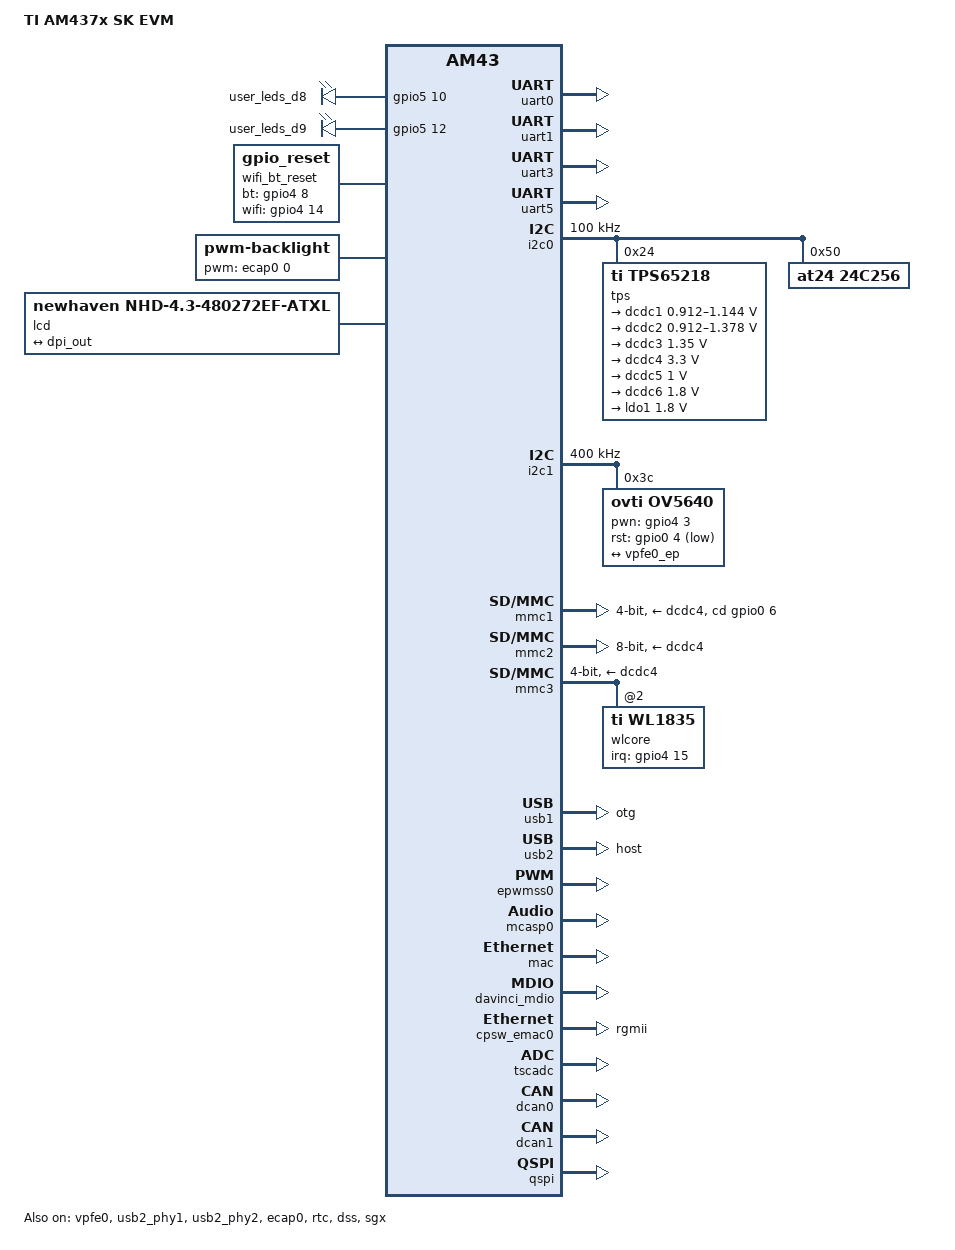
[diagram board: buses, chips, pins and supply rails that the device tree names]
/*
 * Copyright (C) 2015 Embest Technology Co., Ltd., - http://www.embest-tech.com
 *
 * This program is free software; you can redistribute it and/or modify
 * it under the terms of the GNU General Public License version 2 as
 * published by the Free Software Foundation.
 *
 * This dts is for embest own product:
 * SBC-EC8800
 */
/dts-v1/;

#include "am4372.dtsi"
#include <dt-bindings/pinctrl/am43xx.h>
#include <dt-bindings/pwm/pwm.h>
#include <dt-bindings/gpio/gpio.h>
#include <dt-bindings/input/input.h>

/ {
	model = "TI AM437x SK EVM";
	compatible = "ti,am437x-sk-evm","ti,am4372","ti,am43";

	aliases {
		display0 = &lcd0;
		serial1 = &uart1;
		serial3 = &uart3;
		serial5 = &uart5;
	};

	leds {
		pinctrl-names = "default";
		pinctrl-0 = <&user_leds>;
        
		compatible = "gpio-leds";

		led1 {
			label = "user_leds_d8";
			gpios = <&gpio5 10 GPIO_ACTIVE_HIGH>;
			linux,default-trigger = "none";
			default-state = "on";
		};

		led2 {
			label = "user_leds_d9";
			gpios = <&gpio5 12 GPIO_ACTIVE_HIGH>;
			linux,default-trigger = "none";
			default-state = "on";
		};
	};

	wifi_bt_reset{
		pinctrl-names = "default";
		pinctrl-0 = <&wifi_reset_pins>;

		compatible = "gpio_reset";
		bt-gpios = <&gpio4 8 GPIO_ACTIVE_HIGH>;
		wifi-gpios = <&gpio4 14 GPIO_ACTIVE_HIGH>;
	};

	wilink8_pcm: wilink8_pcm {
		compatible = "ti,wilink8_bt";
		status = "okay";
	};

	sound_bt: sound@1 {
		compatible = "ti,wilink8-bt-audio";
		ti,model = "WILINK8_BT";
		ti,audio-codec = <&wilink8_pcm>;
		ti,mcasp-controller = <&mcasp0>;
		ti,codec-clock-rate = <24000000>;
	};

	tibt {
		compatible = "tibt";
		nshutdown_gpio = <104>; 
		dev_name = "/dev/ttyS5";
		flow_cntrl = <1>;
		baud_rate = <3000000>;
	};

	backlight: backlight {
		compatible = "pwm-backlight";

		pwms = <&ecap0 0 50000 PWM_POLARITY_INVERTED>;
		brightness-levels = <0 51 53 56 62 75 101 152 255>;
		default-brightness-level = <6>;
	};
	
	btwilink {
		compatible = "btwilink";
	};

	lcd0: display {
		compatible = "newhaven,nhd-4.3-480272ef-atxl", "panel-dpi";
		label = "lcd";

		/* If there is a enable pin in LCD sch. you need to add this!
		*pinctrl-names = "default";
		*pinctrl-0 = <&lcd_pins>;
		*
		*enable-gpios = <&gpio1 7 GPIO_ACTIVE_HIGH>; */

		panel-timing {
			/*This is the timing for 4.3inch_LCD*/
			/*clock-frequency = <9000000>;
			hactive = <480>;
			vactive = <272>;
			hfront-porch = <2>;
			hback-porch = <2>;
			hsync-len = <41>;
			vfront-porch = <2>;
			vback-porch = <2>;
			vsync-len = <10>;
			hsync-active = <0>;
			vsync-active = <0>;
			de-active = <1>;
			pixelclk-active = <1>;*/

			/*This is the timing for 7inch_LCD*/
			clock-frequency = <36000000>;
			hactive = <800>;
			vactive = <480>;
			hfront-porch = <1>;
			hback-porch = <1>;
			hsync-len = <48>;
			vfront-porch = <12>;
			vback-porch = <25>;
			vsync-len = <5>;
			hsync-active = <0>;
			vsync-active = <0>;
			de-active = <1>;
			pixelclk-active = <1>;
		};

		port {
			lcd_in: endpoint {
				remote-endpoint = <&dpi_out>;
			};
		};
	};
};

&cpu {
	cpu0-supply = <&dcdc2>;
};

&uart0 {
	status = "okay";
	pinctrl-names = "default";
	pinctrl-0 = <&uart0_pins>;
};

&uart1 {
	pinctrl-names = "default";
	pinctrl-0 = <&uart1_pins>;
	status = "okay";
};
&uart3 {
	pinctrl-names = "default";
	pinctrl-0 = <&uart3_pins>;
	rs485-rts-active-high;
	linux,rs485-enabled-at-boot-time;
	rs485-rts-delay = <200 0>;		// in milliseconds	
	status = "okay";
	rts-gpio = <&gpio5 1 GPIO_ACTIVE_HIGH>;
	cts-gpio = <&gpio5 0 GPIO_ACTIVE_HIGH>;
};
&uart5 {
	pinctrl-names = "default";
	pinctrl-0 = <&uart5_pins>;
	status = "okay";
};

&i2c0 {
	status = "okay";
	pinctrl-names = "default";
	pinctrl-0 = <&i2c0_pins>;
	clock-frequency = <100000>;

	tps@24 {
		compatible = "ti,tps65218";
		reg = <0x24>;
		interrupts = <GIC_SPI 7 IRQ_TYPE_LEVEL_HIGH>;
		interrupt-controller;
		#interrupt-cells = <2>;

		dcdc1: regulator-dcdc1 {
			compatible = "ti,tps65218-dcdc1";
			/* VDD_CORE limits min of OPP50 and max of OPP100 */
			regulator-name = "vdd_core";
			regulator-min-microvolt = <912000>;
			regulator-max-microvolt = <1144000>;
			regulator-boot-on;
			regulator-always-on;
		};

		dcdc2: regulator-dcdc2 {
			compatible = "ti,tps65218-dcdc2";
			/* VDD_MPU limits min of OPP50 and max of OPP_NITRO */
			regulator-name = "vdd_mpu";
			regulator-min-microvolt = <912000>;
			regulator-max-microvolt = <1378000>;
			regulator-boot-on;
			regulator-always-on;
		};

		dcdc3: regulator-dcdc3 {
			compatible = "ti,tps65218-dcdc3";
			regulator-name = "vdds_ddr";
			regulator-min-microvolt = <1350000>;
			regulator-max-microvolt = <1350000>;
			regulator-boot-on;
			regulator-always-on;
			regulator-state-mem {
				regulator-on-in-suspend;
			};
			regulator-state-disk {
				regulator-off-in-suspend;
			};
		};

		dcdc4: regulator-dcdc4 {
			compatible = "ti,tps65218-dcdc4";
			regulator-name = "v3_3d";
			regulator-min-microvolt = <3300000>;
			regulator-max-microvolt = <3300000>;
			regulator-boot-on;
			regulator-always-on;
		};

		dcdc5: regulator-dcdc5 {
			compatible = "ti,tps65218-dcdc5";
			regulator-name = "v1_0bat";
			regulator-min-microvolt = <1000000>;
			regulator-max-microvolt = <1000000>;
			regulator-boot-on;
			regulator-always-on;
			regulator-state-mem {
				regulator-on-in-suspend;
			};
		};

		dcdc6: regulator-dcdc6 {
			compatible = "ti,tps65218-dcdc6";
			regulator-name = "v1_8bat";
			regulator-min-microvolt = <1800000>;
			regulator-max-microvolt = <1800000>;
			regulator-boot-on;
			regulator-always-on;
			regulator-state-mem {
				regulator-on-in-suspend;
			};
		};

		ldo1: regulator-ldo1 {
			compatible = "ti,tps65218-ldo1";
			regulator-name = "v1_8d";
			regulator-min-microvolt = <1800000>;
			regulator-max-microvolt = <1800000>;
			regulator-boot-on;
			regulator-always-on;
		};

		power-button {
			compatible = "ti,tps65218-pwrbutton";
			status = "okay";
			interrupts = <3 IRQ_TYPE_EDGE_BOTH>;
		};
	};

	at24@50 {
		compatible = "at24,24c256";
		pagesize = <64>;
		reg = <0x50>;
	};
};


&i2c1 {
	status = "okay";
	pinctrl-names = "default";
	pinctrl-0 = <&i2c1_pins>;
	clock-frequency = <400000>;
	
	ov5640@3c {
		compatible = "ovti,ov5640";
		reg = <0x3c>;
		pinctrl-names = "default";
		pinctrl-0 = <&clkout2_pin>;	
		
		clocks = <&clkout2_ck>;
		clock-names = "mclk";
		assigned-clocks = <&clkout2_mux_ck>, <&clkout2_post_div_ck>;
		assigned-clock-parents = <&sysclk_div>;
		assigned-clock-rates = <0>, <12500000>;		
		
		pwn = <&gpio4 3 GPIO_ACTIVE_HIGH>;
		rst = <&gpio0 4 GPIO_ACTIVE_LOW>;
		
		port {
			ov5640_1: endpoint {
				remote-endpoint = <&vpfe0_ep>;
				link-frequencies = /bits/ 64 <70000000>;
			};
		};
	};
};

&vpfe0 {
	status = "okay";
	pinctrl-names = "default", "sleep";
	pinctrl-0 = <&vpfe0_pins_default>;
	pinctrl-1 = <&vpfe0_pins_sleep>;

	/* Camera port */
	port {
		vpfe0_ep: endpoint {
			remote-endpoint = <&ov5640_1>;
			ti,am437x-vpfe-interface = <0>;
			bus-width = <8>;
			hsync-active = <0>;
			vsync-active = <0>;
		};
	};
};

&mmc1 {
	status = "okay";
	pinctrl-names = "default", "sleep";
	pinctrl-0 = <&mmc1_pins>;
	pinctrl-1 = <&mmc1_pins_sleep>;

	vmmc-supply = <&dcdc4>;
	bus-width = <4>;
	cd-gpios = <&gpio0 6 GPIO_ACTIVE_HIGH>;
};

/* eMMC sits on mmc2 */
&mmc2 {
	/*
	 * When enabling eMMC, disable GPMC/NAND and set
	 * SelEMMCorNAND to output-high
	 */
	status = "okay";
	vmmc-supply = <&dcdc4>;
	bus-width = <8>;
	pinctrl-names = "default", "sleep";
	pinctrl-0 = <&emmc_pins_default>;
	pinctrl-1 = <&emmc_pins_sleep>;
	ti,non-removable;
};

&mmc3 {
	status = "okay";
	dmas = <&edma 30
	&edma 31>;
	dma-names = "tx", "rx";
	vmmc-supply = <&dcdc4>;
	bus-width = <4>;
	pinctrl-names = "default", "sleep";
	pinctrl-0 = <&mmc3_pins_default>;
	pinctrl-1 = <&mmc3_pins_sleep>;
	cap-power-off-card;
	keep-power-in-suspend;
	ti,non-removable;
	#address-cells = <1>;
	#size-cells = <0>;

	wlcore: wlcore@0 {
		compatible = "ti,wl1835";
		pinctrl-names = "default", "sleep";
		pinctrl-0 = <&wlan_pins_default>;
		pinctrl-1 = <&wlan_pins_sleep>;
		reg = <2>;
		interrupt-parent = <&gpio4>;
		interrupts = <15 IRQ_TYPE_LEVEL_HIGH>;
	};
};

&edma {
	ti,edma-xbar-event-map = /bits/ 16 <1 30
				2 31>;
};

&usb2_phy1 {
	status = "okay";
};

&usb1 {
	dr_mode = "otg";
	status = "okay";
	pinctrl-names = "default";
	pinctrl-0 = <&usb1_pins>;
};

&usb2_phy2 {
	status = "okay";
};

&usb2 {
	dr_mode = "host";
	status = "okay";
	pinctrl-names = "default";
	pinctrl-0 = <&usb2_pins>;
};

&gpio0 {
	status = "okay";
};

&gpio4 {
	status = "okay";
};

/* This is needed for LED according to LED pins */
&gpio5 {
	status = "okay";
};

/* This is needed for backlight */
&epwmss0 {
	status = "okay";
};

/* This is needed for backlight */
&ecap0 {
	status = "okay";
	pinctrl-names = "default";
	pinctrl-0 = <&ecap0_pins>;
};

&rtc {
	status = "okay";
	ext-clk-src;
};

/* This is needed for LCD*/
&dss {
	status = "okay";

	pinctrl-names = "default";
	pinctrl-0 = <&dss_pins>;

	port {
		dpi_out: endpoint@0 {
			remote-endpoint = <&lcd_in>;
			data-lines = <24>;
		};
	};
};

/* This is needed for LCD*/
&sgx {
	status = "okay";
};

&mcasp0 {
	#sound-dai-cells = <0>;
	pinctrl-names = "default";
	pinctrl-0 = <&mcasp0_pins>;
	status = "okay";
	op-mode = <0>;
	tdm-slots = <2>;
    
	serial-dir = <
		1 2  0 0
	>;

	tx-num-evt = <1>;
	rx-num-evt = <1>;
};

&mac {
	pinctrl-names = "default", "sleep";
	pinctrl-0 = <&cpsw_default>;
	/*dual_emac = <1>;*/
	status = "okay";
};

&davinci_mdio {
	pinctrl-names = "default", "sleep";
	pinctrl-0 = <&davinci_mdio_default>;
	status = "okay";
};

&cpsw_emac0 {
	phy_id = <&davinci_mdio>, <7>;
	phy-mode = "rgmii";
	dual_emac_res_vlan = <1>;
};

&tscadc {
	status = "okay";

	tsc {
		ti,wires = <4>;
		ti,x-plate-resistance = <200>;
		ti,coordinate-readouts = <5>;
		ti,wire-config = <0x00 0x11 0x22 0x33>;
		ti,charge-delay = <0xf200>;
	};

	adc { 
		ti,adc-channels = <4 5 6 7>;
		ti,chan-step-opendelay = <0x098 0x098 0x098 0x0>;
		ti,chan-step-sampledelay = <0xff 0x0 0xf 0x0>;
		ti,chan-step-avg = <16 2 4 8>; 
	};
};

&dcan0 {
	pinctrl-names = "default";
	pinctrl-0 = <&can0_pins>;
	status = "okay";
};

&dcan1 {
	pinctrl-names = "default";
	pinctrl-0 = <&can1_pins>;
	status = "okay";
};

&qspi {
	pinctrl-names = "default";
	pinctrl-0 = <&qspi_pins>;
	spi-max-frequency = <108000000>;
	status = "okay";

	/*m25p80@0 {
		compatible = "n25q256a";
		spi-max-frequency = <108000000>;
		reg = <0>;
		spi-cpol;
		spi-cpha;
		spi-tx-bus-width = <1>;
		spi-rx-bus-width = <4>;
		#address-cells = <1>;
		#size-cells = <1>;
	};*/
};

&am43xx_pinmux {
	/* UART0 pins: rxd & txd */
	uart0_pins: pinmux_uart0_pins {
		pinctrl-single,pins = <
			0x170 (PIN_INPUT_PULLUP | MUX_MODE0)	/* uart0_rxd.uart0_rxd */
			0x174 (PIN_OUTPUT_PULLDOWN | MUX_MODE0)	/* uart0_txd.uart0_txd */
		>;
	};
	/* UART1 pins: rxd & txd */
	uart1_pins: pinmux_uart1_pins {
		pinctrl-single,pins = <
			0x180 (PIN_INPUT_PULLUP | MUX_MODE0)	/* uart1_rxd.uart1_rxd */
			0x184 (PIN_OUTPUT_PULLDOWN | MUX_MODE0)	/* uart1_txd.uart1_txd */
		>;
	};

	/* UART3 pins: rxd & txd */
	uart3_pins: pinmux_uart3_pins {
		pinctrl-single,pins = <
			0x228 (PIN_INPUT_PULLUP | MUX_MODE0)	/* uart3_rxd.uart3_rxd */
			0x22c (PIN_OUTPUT_PULLDOWN | MUX_MODE0)	/* uart3_txd.uart3_txd */
			0x234 (PIN_OUTPUT_PULLDOWN | MUX_MODE7)	/* uart3_rts.gpio5_1   */
		>;
	};

	/* UART5 pins: rxd & txd */
	uart5_pins: pinmux_uart5_pins {
		pinctrl-single,pins = <
			0x108 (PIN_INPUT_PULLUP | MUX_MODE3)	/* mii1_col.uart5_rxd */
			0x144 (PIN_OUTPUT_PULLDOWN | MUX_MODE3)	/* rmii1_refclk.uart5_txd */
			0x10c (PIN_OUTPUT_PULLDOWN | MUX_MODE7)	/* ctsn */
			0x110 (PIN_OUTPUT_PULLDOWN | MUX_MODE7) /* rtsn */
		>;
	};

	/* I2C0 pins: sda & scl */
	i2c0_pins: i2c0_pins {
		pinctrl-single,pins = <
			0x188 (PIN_INPUT | SLEWCTRL_FAST | MUX_MODE0)  /* i2c0_sda.i2c0_sda */
			0x18c (PIN_INPUT | SLEWCTRL_FAST | MUX_MODE0)  /* i2c0_scl.i2c0_scl */
		>;
	};

    /* CAN0 pins: rxd & txd */
	can0_pins: pinmux_can0_pins {
		pinctrl-single,pins = <
			0x17C (PIN_INPUT_PULLUP | MUX_MODE2)	/* uart1_rtsn.can0_rxd */
			0x178 (PIN_OUTPUT_PULLDOWN | MUX_MODE2)	/* uart1_ctsn.can0_txd */
			0x78 (PIN_OUTPUT_PULLDOWN | MUX_MODE7)	/* CAN0/1_STB.gpio1_28 */
		>;
	};

    /* CAN1 pins: rxd & txd */
	can1_pins: pinmux_can1_pins {
		pinctrl-single,pins = <
			0x16C (PIN_INPUT_PULLUP | MUX_MODE2)	/* uart0_rtsn.can1_rxd */
			0x168 (PIN_OUTPUT_PULLDOWN | MUX_MODE2)	/* uart0_ctsn.can1_txd */
		>;
	};

	mcasp0_pins: mcasp0_pins {
		pinctrl-single,pins = <
			0x190 (PIN_INPUT_PULLDOWN | MUX_MODE0)	/* MCASP0_ACLKX.MCASP0_ACLKX */
			0x194 (PIN_INPUT_PULLDOWN | MUX_MODE0)	/* MCASP0_FSX.MCASP0_FSX */
			0x198 (PIN_OUTPUT_PULLDOWN | MUX_MODE0)	/* MCASP0_AXR0.MCASP0_AXR0 */
			0x1a8 (PIN_INPUT_PULLDOWN | MUX_MODE0)	/* MCASP0_AXR1.MCASP0_AXR1 */
			0x1ac (PIN_OUTPUT_PULLDOWN | MUX_MODE0)	/* MCASP0_AHCLKX.MCASP0_AHCLKX */
		>;
	};

	/* MMC1 pins:  data0 - data3; clk; cmd; detect pin */
	mmc1_pins: pinmux_mmc1_pins {
		pinctrl-single,pins = <
			0x0f0 (PIN_INPUT | MUX_MODE0) /* mmc0_dat3.mmc0_dat3 */
			0x0f4 (PIN_INPUT | MUX_MODE0) /* mmc0_dat2.mmc0_dat2 */
			0x0f8 (PIN_INPUT | MUX_MODE0) /* mmc0_dat1.mmc0_dat1 */
			0x0fc (PIN_INPUT | MUX_MODE0) /* mmc0_dat0.mmc0_dat0 */
			0x100 (PIN_INPUT | MUX_MODE0) /* mmc0_clk.mmc0_clk */
			0x104 (PIN_INPUT | MUX_MODE0) /* mmc0_cmd.mmc0_cmd */
			0x160 (PIN_INPUT | MUX_MODE7) /* spi0_cs1.gpio0_6 */
		>;
	};

	/* MMC1 pins:  data0 - data3; clk; cmd; detect pin */
	mmc1_pins_sleep: pinmux_mmc1_pins_sleep {
		pinctrl-single,pins = <
			0x0F0 (PIN_INPUT_PULLDOWN | MUX_MODE7)
			0x0F4 (PIN_INPUT_PULLDOWN | MUX_MODE7)
			0x0F8 (PIN_INPUT_PULLDOWN | MUX_MODE7)
			0x0FC (PIN_INPUT_PULLDOWN | MUX_MODE7)
			0x100 (PIN_INPUT_PULLDOWN | MUX_MODE7)
			0x104 (PIN_INPUT_PULLDOWN | MUX_MODE7)
			0x1A0 (PIN_INPUT_PULLDOWN | MUX_MODE7)
			0x160 (PIN_INPUT_PULLDOWN | MUX_MODE7)
		>;
	};

	/* eMMC pins:  data0 - data7; clk; cmd;  */
	emmc_pins_default: emmc_pins_default {
		pinctrl-single,pins = <
			0x00 (PIN_INPUT_PULLUP | MUX_MODE1) /* gpmc_ad0.mmc1_dat0 */
			0x04 (PIN_INPUT_PULLUP | MUX_MODE1) /* gpmc_ad1.mmc1_dat1 */
			0x08 (PIN_INPUT_PULLUP | MUX_MODE1) /* gpmc_ad2.mmc1_dat2 */
			0x0c (PIN_INPUT_PULLUP | MUX_MODE1) /* gpmc_ad3.mmc1_dat3 */
			0x10 (PIN_INPUT_PULLUP | MUX_MODE1) /* gpmc_ad4.mmc1_dat4 */
			0x14 (PIN_INPUT_PULLUP | MUX_MODE1) /* gpmc_ad5.mmc1_dat5 */
			0x18 (PIN_INPUT_PULLUP | MUX_MODE1) /* gpmc_ad6.mmc1_dat6 */
			0x1c (PIN_INPUT_PULLUP | MUX_MODE1) /* gpmc_ad7.mmc1_dat7 */
			0x80 (PIN_INPUT_PULLUP | MUX_MODE2) /* gpmc_csn1.mmc1_clk */
			0x84 (PIN_INPUT_PULLUP | MUX_MODE2) /* gpmc_csn2.mmc1_cmd */
		>;
	};

	emmc_pins_sleep: emmc_pins_sleep {
		pinctrl-single,pins = <
			0x00 (PIN_INPUT_PULLDOWN | MUX_MODE7) /* gpmc_ad0.gpio1_0 */
			0x04 (PIN_INPUT_PULLDOWN | MUX_MODE7) /* gpmc_ad1.gpio1_1 */
			0x08 (PIN_INPUT_PULLDOWN | MUX_MODE7) /* gpmc_ad2.gpio1_2 */
			0x0c (PIN_INPUT_PULLDOWN | MUX_MODE7) /* gpmc_ad3.gpio1_3 */
			0x10 (PIN_INPUT_PULLDOWN | MUX_MODE7) /* gpmc_ad4.gpio1_4 */
			0x14 (PIN_INPUT_PULLDOWN | MUX_MODE7) /* gpmc_ad5.gpio1_5 */
			0x18 (PIN_INPUT_PULLDOWN | MUX_MODE7) /* gpmc_ad6.gpio1_6 */
			0x1c (PIN_INPUT_PULLDOWN | MUX_MODE7) /* gpmc_ad7.gpio1_7 */
			0x80 (PIN_INPUT_PULLDOWN | MUX_MODE7) /* gpmc_csn1.gpio1_30 */
			0x84 (PIN_INPUT_PULLDOWN | MUX_MODE7) /* gpmc_csn2.gpio1_31 */
		>;
	};

	mmc3_pins_default: pinmux_mmc3_pins_default {  
		pinctrl-single,pins = <
			0x1f0 (PIN_INPUT_PULLUP | MUX_MODE3) /* (AD21) cam1_data2.mmc2_clk */
			0x1f4 (PIN_INPUT_PULLUP | MUX_MODE3) /* (AE22) cam1_data3.mmc2_cmd */
			0x1f8 (PIN_INPUT_PULLUP | MUX_MODE3) /* (AD22) cam1_data4.mmc2_dat0 */
			0x1fc (PIN_INPUT_PULLUP | MUX_MODE3) /* (AE23) cam1_data5.mmc2_dat1 */
			0x200 (PIN_INPUT_PULLUP | MUX_MODE3) /* (AD23) cam1_data6.mmc2_dat2 */
			0x204 (PIN_INPUT_PULLUP | MUX_MODE3) /* (AE24) cam1_data7.mmc2_dat3 */
		>;
	};

	mmc3_pins_sleep: pinmux_mmc3_pins_sleep {
		pinctrl-single,pins = <
			0x1f0 (PIN_INPUT_PULLDOWN | MUX_MODE7) /* (AD21) cam1_data2.mmc2_clk */
			0x1f4 (PIN_INPUT_PULLDOWN | MUX_MODE7) /* (AE22) cam1_data3.mmc2_cmd */
			0x1f8 (PIN_INPUT_PULLDOWN | MUX_MODE7) /* (AD22) cam1_data4.mmc2_dat0 */
			0x1fc (PIN_INPUT_PULLDOWN | MUX_MODE7) /* (AE23) cam1_data5.mmc2_dat1 */
			0x200 (PIN_INPUT_PULLDOWN | MUX_MODE7) /* (AD23) cam1_data6.mmc2_dat2 */
			0x204 (PIN_INPUT_PULLDOWN | MUX_MODE7) /* (AE24) cam1_data7.mmc2_dat3 */
		>;
	};

	wlan_pins_default: pinmux_wlan_pins_default {
		pinctrl-single,pins = <
			0x1ec (PIN_INPUT | WAKEUP_ENABLE | MUX_MODE7)	/*  WL_IRQ */
		>;
	};

	wlan_pins_sleep: pinmux_wlan_pins_sleep {
		pinctrl-single,pins = <
			0x1ec (PIN_INPUT | WAKEUP_ENABLE | MUX_MODE7)	/* WL_IRQ */
		>;
	};

	wifi_reset_pins: wifi_reset_pins{
		pinctrl-single,pins = <
			0x1e8 (PIN_OUTPUT | MUX_MODE7)	/*  WL_EN */
			0x1d0 (PIN_OUTPUT | MUX_MODE7)	/*  BT_EN */
		>;
	};

	user_leds: user_leds {
		pinctrl-single,pins = <
			0x240 (PIN_OUTPUT | MUX_MODE7)	/* gpmc_csn3.gpio5_10 */
			0x248 (PIN_OUTPUT | MUX_MODE7)	/* gpmc_ben1.gpio5_12 */
		>;
	};

	ecap0_pins: backlight_pins {
		pinctrl-single,pins = <
			0x164 (PIN_OUTPUT_PULLDOWN | MUX_MODE0) /* eCAP0_in_PWM0_out.eCAP0_in_PWM0_out */
		>;
	};

	dss_pins: dss_pins {
		pinctrl-single,pins = <
			0x020 (PIN_OUTPUT | MUX_MODE1)	/* gpmc ad 8 -> DSS DATA 23 */
			0x024 (PIN_OUTPUT | MUX_MODE1)
			0x028 (PIN_OUTPUT | MUX_MODE1)
			0x02c (PIN_OUTPUT | MUX_MODE1)
			0x030 (PIN_OUTPUT | MUX_MODE1)
			0x034 (PIN_OUTPUT | MUX_MODE1)
			0x038 (PIN_OUTPUT | MUX_MODE1)
			0x03c (PIN_OUTPUT | MUX_MODE1)	/* gpmc ad 15 -> DSS DATA 16 */
			0x0a0 (PIN_OUTPUT | MUX_MODE0)	/* DSS DATA 0 */
			0x0a4 (PIN_OUTPUT | MUX_MODE0)
			0x0a8 (PIN_OUTPUT | MUX_MODE0)
			0x0ac (PIN_OUTPUT | MUX_MODE0)
			0x0b0 (PIN_OUTPUT | MUX_MODE0)
			0x0b4 (PIN_OUTPUT | MUX_MODE0)
			0x0b8 (PIN_OUTPUT | MUX_MODE0)
			0x0bc (PIN_OUTPUT | MUX_MODE0)
			0x0c0 (PIN_OUTPUT | MUX_MODE0)
			0x0c4 (PIN_OUTPUT | MUX_MODE0)
			0x0c8 (PIN_OUTPUT | MUX_MODE0)
			0x0cc (PIN_OUTPUT | MUX_MODE0)
			0x0d0 (PIN_OUTPUT | MUX_MODE0)
			0x0d4 (PIN_OUTPUT | MUX_MODE0)
			0x0d8 (PIN_OUTPUT | MUX_MODE0)
			0x0dc (PIN_OUTPUT | MUX_MODE0)	/* DSS DATA 15 */
			0x0e0 (PIN_OUTPUT | MUX_MODE0)	/* DSS VSYNC */
			0x0e4 (PIN_OUTPUT | MUX_MODE0)	/* DSS HSYNC */
			0x0e8 (PIN_OUTPUT | MUX_MODE0)	/* DSS PCLK */
			0x0ec (PIN_OUTPUT | MUX_MODE0)	/* DSS AC BIAS EN */

		>;
	};

	usb1_pins: usb1_pins {
		pinctrl-single,pins = <
			0x2c0 (PIN_OUTPUT | MUX_MODE0) /* usb0_drvvbus.usb0_drvvbus */
		>;
	};

	usb2_pins: usb2_pins {
		pinctrl-single,pins = <
			0x2c4 (PIN_OUTPUT | MUX_MODE0) /* usb1_drvvbus.usb1_drvvbus */
		>;
	};

	cpsw_default: cpsw_default {
		pinctrl-single,pins = <
			/* Slave 1 */
			0x12c (PIN_OUTPUT | MUX_MODE2)	/* mii1_txclk.rmii1_tclk */
			0x114 (PIN_OUTPUT | MUX_MODE2)	/* mii1_txen.rgmii1_tctl */
			0x128 (PIN_OUTPUT | MUX_MODE2)	/* mii1_txd0.rgmii1_td0 */
			0x124 (PIN_OUTPUT | MUX_MODE2)	/* mii1_txd1.rgmii1_td1 */
			0x120 (PIN_OUTPUT | MUX_MODE2)	/* mii1_txd0.rgmii1_td2 */
			0x11c (PIN_OUTPUT | MUX_MODE2)	/* mii1_txd1.rgmii1_td3 */
			0x130 (PIN_INPUT | MUX_MODE2)	/* mii1_rxclk.rmii1_rclk */
			0x118 (PIN_INPUT | MUX_MODE2)	/* mii1_rxdv.rgmii1_rctl */
			0x140 (PIN_INPUT | MUX_MODE2)	/* mii1_rxd0.rgmii1_rd0 */
			0x13c (PIN_INPUT | MUX_MODE2)	/* mii1_rxd1.rgmii1_rd1 */
			0x138 (PIN_INPUT | MUX_MODE2)	/* mii1_rxd0.rgmii1_rd2 */
			0x134 (PIN_INPUT | MUX_MODE2)	/* mii1_rxd1.rgmii1_rd3 */

			/* Slave 2 */
			0x58 (PIN_OUTPUT | MUX_MODE2)	/* gpmc_a6.rgmii2_tclk */
			0x40 (PIN_OUTPUT | MUX_MODE2)	/* gpmc_a0.rgmii2_tctl */
			0x54 (PIN_OUTPUT | MUX_MODE2)	/* gpmc_a5.rgmii2_td0 */
			0x50 (PIN_OUTPUT | MUX_MODE2)	/* gpmc_a4.rgmii2_td1 */
			0x4c (PIN_OUTPUT | MUX_MODE2)	/* gpmc_a3.rgmii2_td2 */
			0x48 (PIN_OUTPUT | MUX_MODE2)	/* gpmc_a2.rgmii2_td3 */
			0x5c (PIN_INPUT | MUX_MODE2)	/* gpmc_a7.rgmii2_rclk */
			0x44 (PIN_INPUT | MUX_MODE2)	/* gpmc_a1.rgmii2_rtcl */
			0x6c (PIN_INPUT | MUX_MODE2)	/* gpmc_a11.rgmii2_rd0 */
			0x68 (PIN_INPUT | MUX_MODE2)	/* gpmc_a10.rgmii2_rd1 */
			0x64 (PIN_INPUT | MUX_MODE2)	/* gpmc_a9.rgmii2_rd2 */
			0x60 (PIN_INPUT | MUX_MODE2)	/* gpmc_a8.rgmii2_rd3 */
		>;
	};

	davinci_mdio_default: davinci_mdio_default {
		pinctrl-single,pins = <
			/* MDIO */
			0x148 (PIN_INPUT | SLEWCTRL_FAST | MUX_MODE0)	/* mdio_data.mdio_data */
			0x14c (PIN_OUTPUT | MUX_MODE0)			/* mdio_clk.mdio_clk */
		>;
	};

	qspi_pins: pinmux_qspi_pins {
		pinctrl-single,pins = <
			0x7c (PIN_OUTPUT | MUX_MODE3)   /* gpmc_csn0.qspi_csn */
			0x88 (PIN_OUTPUT | MUX_MODE2)   /* gpmc_csn3.qspi_clk */
			0x90 (PIN_INPUT | MUX_MODE3)    /* gpmc_advn_ale.qspi_d0 */
			0x94 (PIN_INPUT | MUX_MODE3)    /* gpmc_oen_ren.qspi_d1 */
			0x98 (PIN_INPUT | MUX_MODE3)    /* gpmc_wen.qspi_d2 */
			0x9c (PIN_INPUT | MUX_MODE3)    /* gpmc_be0n_cle.qspi_d3 */
		>;
	};

	clkout2_pin: pinmux_clkout2_pin {
		pinctrl-single,pins = <
			0x274 (PIN_OUTPUT_PULLDOWN | MUX_MODE3)	/* XDMA_EVENT_INTR1/CLKOUT2 */
			0x1bc (PIN_OUTPUT_PULLDOWN | MUX_MODE7)	/* pwn.gpio4_3 */
			0x08c (PIN_OUTPUT_PULLDOWN | MUX_MODE9)	/* rst gpio0_4 */
		>;	
	};

	/* I2C1 pins: sda & scl */
	i2c1_pins: i2c1_pins {
		pinctrl-single,pins = <
			0x15c (PIN_INPUT_PULLDOWN | SLEWCTRL_FAST | MUX_MODE2)  /* spi0_cs0.i2c1_scl */
			0x158 (PIN_INPUT_PULLDOWN | SLEWCTRL_FAST | MUX_MODE2)  /* spi0_d1.i2c1_sda  */
		>;
	};

	/* I2C2 pins: sda & scl */
	i2c2_pins: i2c2_pins {
		pinctrl-single,pins = <
			0x154 (PIN_INPUT | SLEWCTRL_FAST | MUX_MODE2)  /* i2c0_sda.i2c0_sda */
			0x150 (PIN_INPUT | SLEWCTRL_FAST | MUX_MODE2)  /* i2c0_scl.i2c0_scl */
		>;
	};

	vpfe0_pins_default: vpfe0_pins_default {
		pinctrl-single,pins = <
			0x1B0 (PIN_INPUT_PULLUP | MUX_MODE0)  /* cam0_hd mode 0*/
			0x1B4 (PIN_INPUT_PULLUP | MUX_MODE0)  /* cam0_vd mode 0*/
			0x1C0 (PIN_INPUT_PULLUP | MUX_MODE0)  /* cam0_pclk mode 0*/
			0x1C4 (PIN_INPUT_PULLUP | MUX_MODE0)  /* cam0_data8 mode 0*/
			0x1C8 (PIN_INPUT_PULLUP | MUX_MODE0)  /* cam0_data9 mode 0*/
			0x208 (PIN_INPUT_PULLUP | MUX_MODE0)  /* cam0_data0 mode 0*/
			0x20C (PIN_INPUT_PULLUP | MUX_MODE0)  /* cam0_data1 mode 0*/
			0x210 (PIN_INPUT_PULLUP | MUX_MODE0)  /* cam0_data2 mode 0*/
			0x214 (PIN_INPUT_PULLUP | MUX_MODE0)  /* cam0_data3 mode 0*/
			0x218 (PIN_INPUT_PULLUP | MUX_MODE0)  /* cam0_data4 mode 0*/
			0x21C (PIN_INPUT_PULLUP | MUX_MODE0)  /* cam0_data5 mode 0*/
			0x220 (PIN_INPUT_PULLUP | MUX_MODE0)  /* cam0_data6 mode 0*/
			0x224 (PIN_INPUT_PULLUP | MUX_MODE0)  /* cam0_data7 mode 0*/
		>;
	};

	vpfe0_pins_sleep: vpfe0_pins_sleep {
		pinctrl-single,pins = <
			0x1B0 (DS0_PULL_UP_DOWN_EN | INPUT_EN | MUX_MODE7)  /* cam0_hd mode 0*/
			0x1B4 (DS0_PULL_UP_DOWN_EN | INPUT_EN | MUX_MODE7)  /* cam0_vd mode 0*/
			0x1C0 (DS0_PULL_UP_DOWN_EN | INPUT_EN | MUX_MODE7)  /* cam0_pclk mode 0*/
			0x1C4 (DS0_PULL_UP_DOWN_EN | INPUT_EN | MUX_MODE7)  /* cam0_data8 mode 0*/
			0x1C8 (DS0_PULL_UP_DOWN_EN | INPUT_EN | MUX_MODE7)  /* cam0_data9 mode 0*/
			0x208 (DS0_PULL_UP_DOWN_EN | INPUT_EN | MUX_MODE7)  /* cam0_data0 mode 0*/
			0x20C (DS0_PULL_UP_DOWN_EN | INPUT_EN | MUX_MODE7)  /* cam0_data1 mode 0*/
			0x210 (DS0_PULL_UP_DOWN_EN | INPUT_EN | MUX_MODE7)  /* cam0_data2 mode 0*/
			0x214 (DS0_PULL_UP_DOWN_EN | INPUT_EN | MUX_MODE7)  /* cam0_data3 mode 0*/
			0x218 (DS0_PULL_UP_DOWN_EN | INPUT_EN | MUX_MODE7)  /* cam0_data4 mode 0*/
			0x21C (DS0_PULL_UP_DOWN_EN | INPUT_EN | MUX_MODE7)  /* cam0_data5 mode 0*/
			0x220 (DS0_PULL_UP_DOWN_EN | INPUT_EN | MUX_MODE7)  /* cam0_data6 mode 0*/
			0x224 (DS0_PULL_UP_DOWN_EN | INPUT_EN | MUX_MODE7)  /* cam0_data7 mode 0*/
		>;
	};
};
